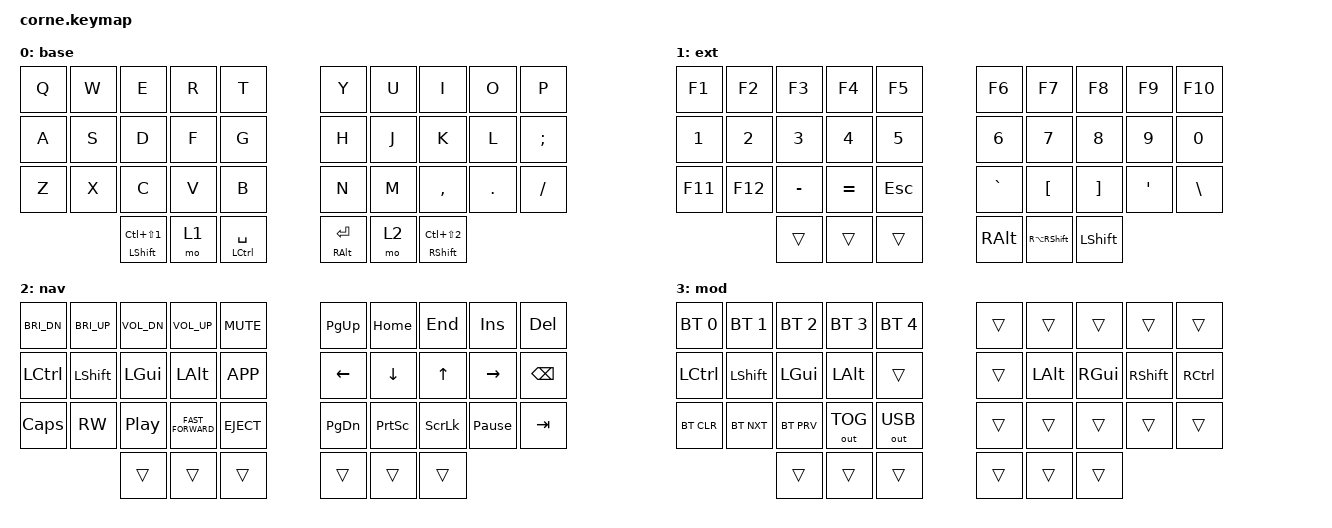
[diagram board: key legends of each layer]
/*
 * Copyright (c) 2020 The ZMK Contributors
 *
 * SPDX-License-Identifier: MIT
 */

#include <behaviors.dtsi>
#include <dt-bindings/zmk/keys.h>
#include <dt-bindings/zmk/bt.h>
#include <dt-bindings/zmk/outputs.h>

/ {
    combos {
        compatible = "zmk,combos";

        mod {
            bindings = <&mo 3>;
            key-positions = <31 34>;
        };

        lock {
            bindings = <&kp LG(L)>;
            key-positions = <33 35>;
        };
    };

    keymap {
        compatible = "zmk,keymap";

        base {
            bindings = <
  &kp Q   &kp W   &kp E                      &kp R   &kp T                    &kp Y                &kp U      &kp I                  &kp O     &kp P
  &kp A   &kp S   &kp D                      &kp F   &kp G                    &kp H                &kp J      &kp K                  &kp L  &kp SEMI
  &kp Z   &kp X   &kp C                      &kp V   &kp B                    &kp N                &kp M  &kp COMMA                &kp DOT  &kp FSLH
                         &mt LEFT_SHIFT LC(LS(N1))   &mo 1  &mt LCTRL SPACE          &mt RIGHT_ALT ENTER      &mo 2  &mt RSHIFT LC(LS(N2))
            >;
        };

        ext {
            bindings = <
  &kp F1   &kp F2     &kp F3     &kp F4      &kp F5             &kp F6    &kp F7          &kp F8      &kp F9   &kp F10
  &kp N1   &kp N2     &kp N3     &kp N4      &kp N5             &kp N6    &kp N7          &kp N8      &kp N9    &kp N0
 &kp F11  &kp F12  &kp MINUS  &kp EQUAL  &kp ESCAPE          &kp GRAVE  &kp LBKT        &kp RBKT     &kp SQT  &kp BSLH
                                 &trans      &trans  &trans             &kp RALT  &kp RA(RSHIFT)  &kp LSHIFT
            >;
        };

        nav {
            bindings = <
 &kp C_BRI_DN  &kp C_BRI_UP  &kp C_VOL_DN        &kp C_VOL_UP   &kp C_MUTE          &kp PG_UP         &kp HOME         &kp END          &kp INS   &kp DEL
    &kp LCTRL     &kp LSHFT      &kp LGUI            &kp LALT    &kp K_APP           &kp LEFT         &kp DOWN          &kp UP        &kp RIGHT  &kp BSPC
     &kp CAPS      &kp C_RW      &kp C_PP  &kp C_FAST_FORWARD  &kp C_EJECT          &kp PG_DN  &kp PRINTSCREEN  &kp SCROLLLOCK  &kp PAUSE_BREAK   &kp TAB
                                                       &trans       &trans  &trans                      &trans          &trans           &trans
            >;
        };

        mod {
            bindings = <
 &bt BT_SEL 0  &bt BT_SEL 1  &bt BT_SEL 2  &bt BT_SEL 3  &bt BT_SEL 4          &trans    &trans    &trans      &trans     &trans
    &kp LCTRL    &kp LSHIFT      &kp LGUI      &kp LALT        &trans          &trans  &kp LALT  &kp RGUI  &kp RSHIFT  &kp RCTRL
   &bt BT_CLR    &bt BT_NXT    &bt BT_PRV  &out OUT_TOG  &out OUT_USB          &trans    &trans    &trans      &trans     &trans
                                                 &trans        &trans  &trans            &trans    &trans      &trans
            >;
        };
    };
};
